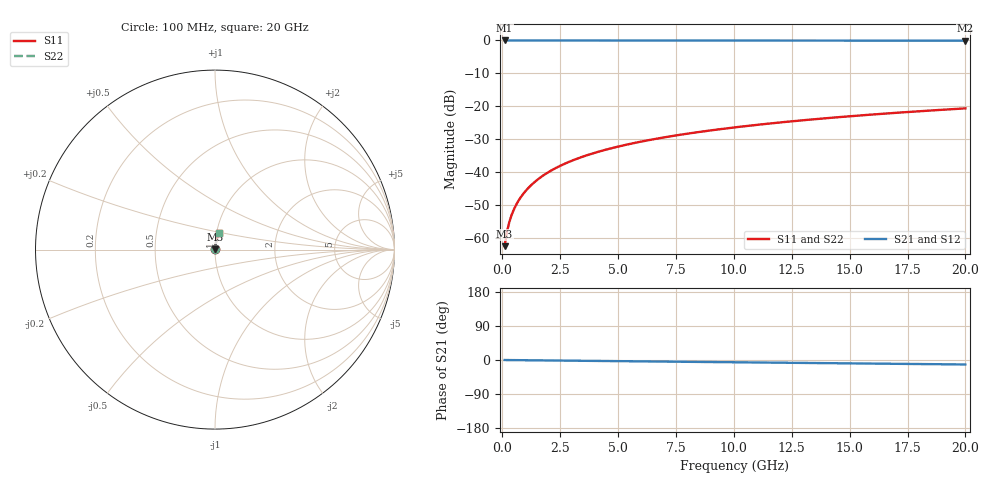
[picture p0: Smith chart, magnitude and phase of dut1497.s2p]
! Touchstone file exported from HFSS 2026.1.0
!  File:  C:/ffzhzh/LocalFiles/Ansys_Project_Files/temp_train_TMRDL_1497_1783167965_22436.aedt
!  Generated:  08:27:13 PM Jul  4, 2026
!  Design:  TMRDL
!  Project:  temp_train_TMRDL_1497_1783167965_22436
! Variables:
!  h_bsmrdl = 2um
!  h_ox = 20um
!  h_rdl = 5um
!  h_sub = 80um
!  h_tmrdl = 5.77um
!  h_tsv = 80um
!  h_via = 3um
!  l_bsmrdl = 300um
!  l_sub = 555.44um
!  l_tmrdl = 155.44um
!  m_sub = 200um
!  pitch = 49.14um
!  r_tsv = 6um
!  s_tmrdl = 10um
!  w_bsmrdl = 18um
!  w_sub = 500um
!  w_tmrdl = 28.32um
!  x_tsv_center1 = 169.6um
!  x_tsv_center2 = 487.6um
!  x_tsv_center3 = 671.36um
!  x_tsv_center4 = 989.36um
!  x_tsv_center5 = 1173.12um
!  x_tsv_center6 = 1491.12um
# GHz S MA R 50.000000
! Terminal data exported
! Port[1] = TM_RDL1_1_T1
! Port[2] = TM_RDL1_1_T2
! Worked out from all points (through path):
!   200 points, 100 MHz to 20 GHz, reference 50 ohm
!   highest |S21| = 0.00 dB at 100 MHz (marker M1); lowest = -0.1 dB at 20 GHz (marker M2)
!   group delay of S21, straight-line fit = 1.64 ps
!   lowest |S11| = -62.4 dB at 100 MHz (marker M3), VSWR 1.00, Z = 50 + j0.0568 ohm
!   |S11| at or under -10 dB: start of sweep to end of sweep
!   |S22| runs from -62.4 to -20.6 dB; largest |S21 - S12| = 2.1e-15
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0.1  0.0007546 48.8  0.9995 -0.1  0.9995 -0.1  0.0007546 48.8
! Gamma 0 0 0 0
! Port Impedance 50 0 50 0
0.2  0.001238 64.1  0.9995 -0.1  0.9995 -0.1  0.001238 64.1
0.3  0.001739 70.1  0.9994 -0.2  0.9994 -0.2  0.001739 70.1
0.4  0.002233 73.4  0.9994 -0.3  0.9994 -0.3  0.002233 73.4
0.5  0.002721 75.6  0.9993 -0.3  0.9993 -0.3  0.002721 75.6
0.7  0.003694 78.4  0.9993 -0.4  0.9993 -0.4  0.003694 78.4
0.8  0.004182 79.4  0.9992 -0.5  0.9992 -0.5  0.004182 79.4
1  0.005159 80.8  0.9992 -0.6  0.9992 -0.6  0.005159 80.8
1.2  0.00614 81.8  0.9992 -0.7  0.9992 -0.7  0.00614 81.8
1.4  0.007122 82.4  0.9991 -0.9  0.9991 -0.9  0.007122 82.4
1.7  0.008595 83.1  0.9991 -1.0  0.9991 -1.0  0.008595 83.1
2  0.01007 83.4  0.999 -1.2  0.999 -1.2  0.01007 83.5
2.7  0.01348 83.8  0.9988 -1.6  0.9988 -1.6  0.01348 83.8
3.5  0.01734 83.8  0.9986 -2.1  0.9986 -2.1  0.01734 83.8
4.2  0.02069 83.6  0.9984 -2.5  0.9984 -2.5  0.02069 83.6
5  0.02448 83.4  0.9982 -3.0  0.9982 -3.0  0.02448 83.4
6.8  0.03292 82.7  0.9976 -4.1  0.9976 -4.1  0.03292 82.7
8.3  0.03989 82.1  0.9971 -5.0  0.9971 -5.0  0.03989 82.1
10.1  0.04821 81.2  0.9965 -6.0  0.9965 -6.0  0.04821 81.3
13.4  0.06336 79.7  0.9954 -8.0  0.9954 -8.0  0.06336 79.7
16.7  0.07835 77.9  0.994 -9.9  0.994 -9.9  0.07835 78.0
20  0.09314 76.2  0.9924 -11.8  0.9924 -11.8  0.09314 76.2
